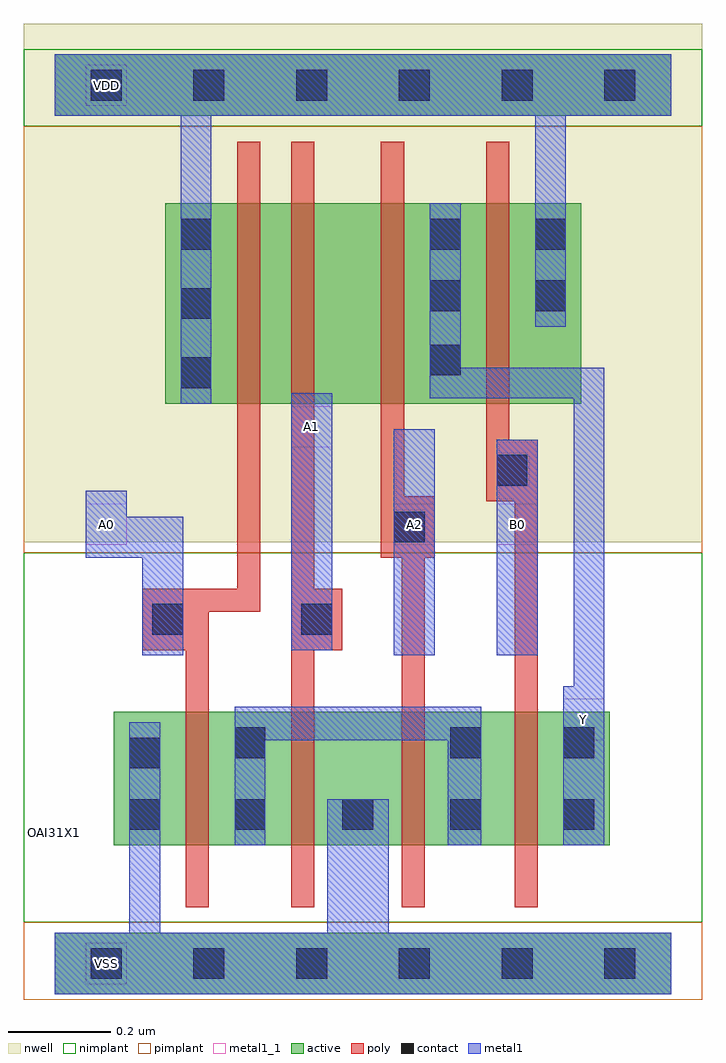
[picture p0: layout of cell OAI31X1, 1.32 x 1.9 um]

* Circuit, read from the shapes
.subckt OAI31X1 A0 A1 A2 B0 VDD VSS Y
M1 n1 A0 VSS VSS nfet w=0.26u l=0.045u
M2 VSS A1 n1 VSS nfet w=0.26u l=0.045u
M3 n1 A2 VSS VSS nfet w=0.26u l=0.045u
M4 Y B0 n1 VSS nfet w=0.26u l=0.045u
M5 n2 A0 VDD VDD pfet w=0.39u l=0.045u
M6 n3 A1 n2 VDD pfet w=0.39u l=0.045u
M7 Y A2 n3 VDD pfet w=0.39u l=0.045u
M8 VDD B0 Y VDD pfet w=0.39u l=0.045u
.ends

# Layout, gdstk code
import gdstk
lib = gdstk.Library(unit=1e-6, precision=5e-10)
def R(c, l, rs):  # rectangles x0, y0, x1, y1
    for r in rs: c.add(gdstk.rectangle(r[:2], r[2:], *l))
def A(c, l, x, y, w, h, nx, ny, dx, dy):  # array of equal rectangles
    R(c, l, [(x+i*dx, y+j*dy, x+i*dx+w, y+j*dy+h) for i in range(nx) for j in range(ny)])
def P(c, l, *ps):  # polygons
    for p in ps: c.add(gdstk.Polygon(p, *l))
active = (1, 0)
nwell = (2, 0)
poly = (3, 0)
nimplant = (4, 0)
pimplant = (5, 0)
contact = (6, 0)
metal1 = (7, 0)
metal1_1 = (7, 1)

oai31x1 = lib.new_cell('OAI31X1')
R(oai31x1, active, [(0,-0.06,1.2,0.06), (0.115,0.23,1.08,0.49), (0.215,1.09,1.025,1.48), (0,1.65,1.2,1.77)])
R(oai31x1, nwell, [(-0.06,0.82,1.26,1.83)])
P(oai31x1, poly, [(0.355,1.6),(0.4,1.6),(0.4,0.685),(0.3,0.685),(0.3,0.11),(0.255,0.11),(0.255,0.61),(0.17,0.61),(0.17,0.73),(0.355,0.73)],
  [(0.46,1.6),(0.505,1.6),(0.505,0.73),(0.56,0.73),(0.56,0.61),(0.505,0.61),(0.505,0.11),(0.46,0.11)],
  [(0.635,1.6),(0.68,1.6),(0.68,0.91),(0.74,0.91),(0.74,0.79),(0.72,0.79),(0.72,0.11),(0.675,0.11),(0.675,0.79),(0.635,0.79)],
  [(0.84,1.6),(0.885,1.6),(0.885,1.02),(0.94,1.02),(0.94,0.11),(0.895,0.11),(0.895,0.9),(0.84,0.9)])
R(oai31x1, nimplant, [(-0.06,0.08,1.26,0.8), (-0.06,1.63,1.26,1.78)])
R(oai31x1, pimplant, [(-0.06,-0.07,1.26,0.08), (-0.06,0.8,1.26,1.63)])
A(oai31x1, contact, 0.07, -0.03, 0.06, 0.06, 6, 2, 0.2, 1.71)
A(oai31x1, contact, 0.35, 0.26, 0.06, 0.06, 3, 1, 0.21, 0)
A(oai31x1, contact, 0.245, 1.12, 0.06, 0.06, 1, 3, 0, 0.135)
R(oai31x1, contact, [(0.145,0.26,0.205,0.32), (0.99,0.26,1.05,0.32), (0.145,0.38,0.205,0.44), (0.35,0.4,0.41,0.46), (0.77,0.4,0.83,0.46), (0.99,0.4,1.05,0.46), (0.19,0.64,0.25,0.7), (0.48,0.64,0.54,0.7), (0.66,0.82,0.72,0.88), (0.86,0.93,0.92,0.99), (0.73,1.145,0.79,1.205), (0.73,1.27,0.79,1.33), (0.935,1.27,0.995,1.33), (0.73,1.39,0.79,1.45), (0.935,1.39,0.995,1.45)])
R(oai31x1, metal1, [(0.66,0.6,0.74,1.04), (0.86,0.6,0.94,1.02), (0.46,0.61,0.54,1.11)])
P(oai31x1, metal1, [(0.35,0.5),(0.83,0.5),(0.83,0.23),(0.765,0.23),(0.765,0.435),(0.41,0.435),(0.41,0.23),(0.35,0.23)],
  [(0.145,0.47),(0.205,0.47),(0.205,0.06),(0.53,0.06),(0.53,0.32),(0.65,0.32),(0.65,0.06),(1.2,0.06),(1.2,-0.06),(0,-0.06),(0,0.06),(0.145,0.06)],
  [(0,1.77),(1.2,1.77),(1.2,1.65),(0.995,1.65),(0.995,1.24),(0.935,1.24),(0.935,1.65),(0.305,1.65),(0.305,1.09),(0.245,1.09),(0.245,1.65),(0,1.65)],
  [(0.73,1.48),(0.79,1.48),(0.79,1.16),(1.07,1.16),(1.07,0.23),(0.99,0.23),(0.99,0.54),(1.01,0.54),(1.01,1.1),(0.73,1.1)],
  [(0.06,0.92),(0.14,0.92),(0.14,0.87),(0.25,0.87),(0.25,0.6),(0.17,0.6),(0.17,0.79),(0.06,0.79)])
A(oai31x1, metal1_1, 0.06, -0.04, 0.08, 0.08, 1, 3, 0, 0.855)
R(oai31x1, metal1_1, [(0.99,0.435,1.07,0.515), (0.66,0.815,0.74,0.895), (0.86,0.815,0.94,0.895), (0.46,1.005,0.54,1.085)])
oai31x1.add(gdstk.Label('Y', (1.03,0.475), layer=7, texttype=1))
oai31x1.add(gdstk.Label('VSS', (0.1,0), layer=7, texttype=1))
oai31x1.add(gdstk.Label('A1', (0.5,1.045), layer=7, texttype=1))
oai31x1.add(gdstk.Label('A0', (0.1,0.855), layer=7, texttype=1))
oai31x1.add(gdstk.Label('B0', (0.9,0.855), layer=7, texttype=1))
oai31x1.add(gdstk.Label('A2', (0.7,0.855), layer=7, texttype=1))
oai31x1.add(gdstk.Label('VDD', (0.1,1.71), layer=7, texttype=1))
oai31x1.add(gdstk.Label('OAI31X1', (0,0.255), layer=63, texttype=0))

lib.write_gds('OAI31X1.gds')
